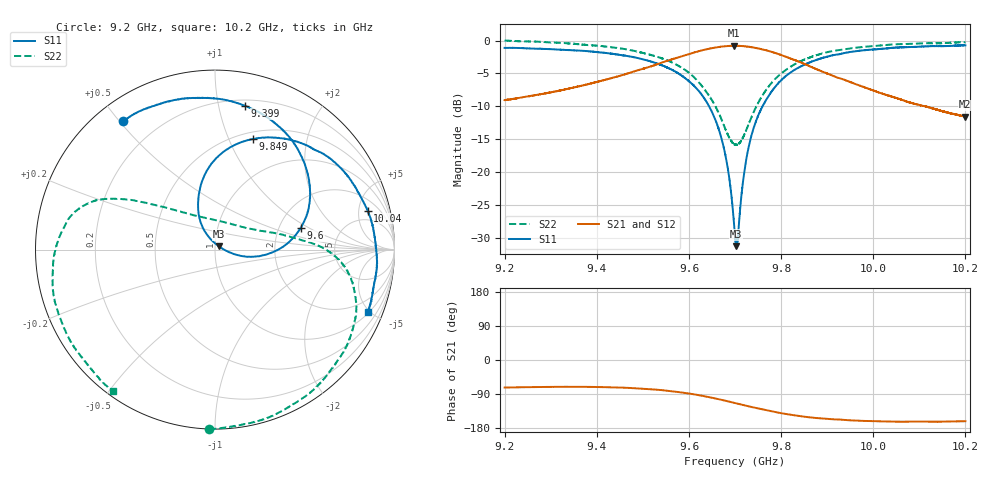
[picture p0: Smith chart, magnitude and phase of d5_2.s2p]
!Agilent Technologies,N5242A,MY51221714,A.09.90.19
!Agilent N5242A: A.09.90.19
!Date: Friday, February 02, 2024 13:17:35
!Correction: S11(Full 2 Port(1,2))
!S21(Full 2 Port(1,2))
!S12(Full 2 Port(1,2))
!S22(Full 2 Port(1,2))
!S2P File: Measurements: S11, S21, S12, S22:
# Hz S  dB  R 50
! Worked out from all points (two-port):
!   16001 points, 9.2 GHz to 10.2 GHz, reference 50 ohm
!   highest |S21| = -0.79 dB at 9.698 GHz (marker M1); lowest = -11.6 dB at 10.2 GHz (marker M2)
!   |S21| within 3 dB of the highest: 9.523738 GHz to 9.52377 GHz (32.3 kHz wide, 0.000339 % of centre); 9.524 GHz to 9.858 GHz (334.3 MHz wide, 3.45 % of centre)
!   lowest |S11| = -31.3 dB at 9.703 GHz (marker M3), VSWR 1.06, Z = 52 + j1.96 ohm
!   |S11| at or under -10 dB: 9.644 GHz to 9.76 GHz (116.1 MHz wide, 1.2 % of centre)
!   |S22| runs from -15.9 to 0.0 dB; largest |S21 - S12| = 0.025
!   S11 on the Smith chart (normalised r, x): 9.2 GHz: 0.08, +0.51; 9.399 GHz: 0.25, +1.20; 9.6 GHz: 2.63, +0.84; 9.849 GHz: 0.57, +1.23; 10.04 GHz: 3.30, +6.25; 10.2 GHz: 1.07, -4.85
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9.2e9  -1.12 125.5  -9.07 -72.7  -9.04 -74.1  0.01 -91.8
9.275688e9  -1.24 108.1  -8.18 -71.3  -8.17 -72.6  -0.18 -70.8
9.366688e9  -1.55 86.4  -6.86 -70.9  -6.86 -72.1  -0.61 -46.9
9.39875e9  -1.75 78.3  -6.33 -71.2  -6.30 -72.6  -0.76 -38.7
9.533375e9  -3.56 38.8  -3.56 -78.8  -3.52 -80.0  -2.51 -9.4
9.599688e9  -6.15 14.2  -2.07 -88.3  -2.04 -89.8  -4.89 2.5
9.665188e9  -13.57 -11.0  -0.98 -103.6  -0.95 -104.9  -11.15 21.9
9.683875e9  -19.24 -13.0  -0.84 -108.9  -0.80 -110.2  -14.21 41.1
9.69775e9  -27.81 8.7  -0.79 -112.9  -0.76 -114.2  -15.73 66.6
9.7e9  -29.56 22.8  -0.80 -113.6  -0.76 -114.9  -15.83 70.8
9.7025e9  -31.29 43.8  -0.80 -114.3  -0.77 -115.7  -15.85 76.2
9.706562e9  -29.64 85.4  -0.81 -115.5  -0.78 -116.9  -15.77 84.9
9.725125e9  -17.79 119.1  -0.91 -120.9  -0.87 -122.4  -13.51 117.9
9.748312e9  -11.76 111.5  -1.17 -127.5  -1.15 -128.9  -9.74 136.6
9.79125e9  -6.72 94.0  -1.99 -138.3  -1.99 -139.8  -5.57 148.6
9.848812e9  -3.73 71.1  -3.49 -149.3  -3.48 -150.6  -2.95 157.2
9.866688e9  -3.19 64.6  -4.05 -151.9  -4.03 -153.3  -2.48 160.0
9.941188e9  -1.84 40.6  -6.07 -158.5  -6.06 -159.9  -1.29 173.8
1.003338e10  -1.15 15.4  -8.37 -162.3  -8.36 -163.7  -0.63 -166.5
1.003762e10  -1.13 14.3  -8.47 -162.4  -8.46 -163.9  -0.61 -165.6
1.019969e10  -0.73 -22.1  -11.58 -161.5  -11.56 -163.0  -0.26 -125.7
1.02e10  -0.73 -22.3  -11.57 -161.5  -11.55 -162.9  -0.25 -125.6
